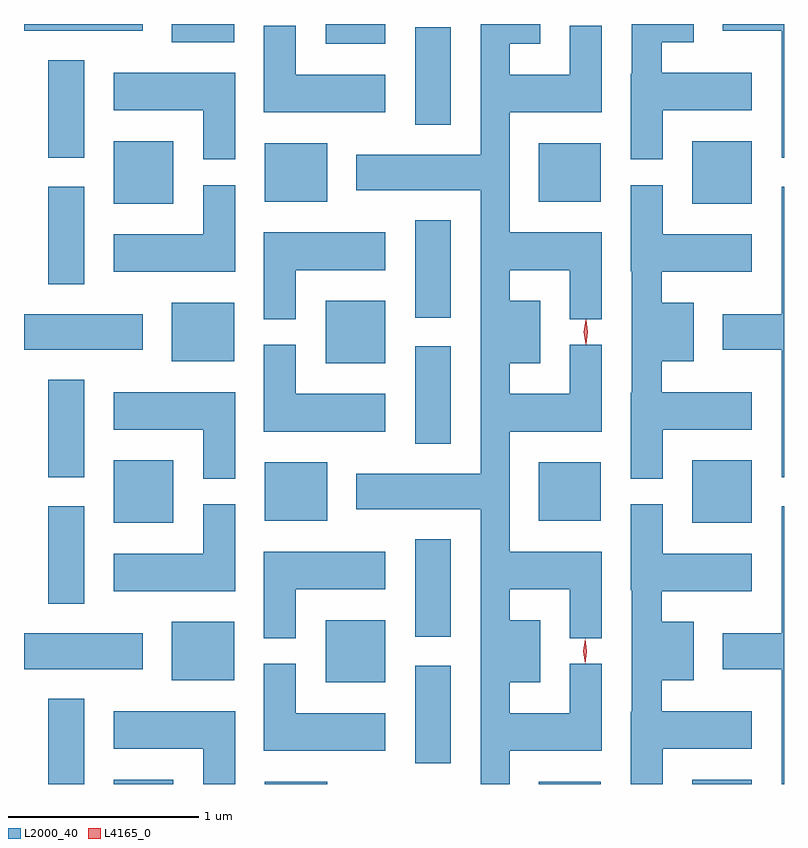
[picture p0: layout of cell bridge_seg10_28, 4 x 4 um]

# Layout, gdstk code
import gdstk
lib = gdstk.Library(unit=1e-6, precision=1e-09)
def R(c, l, rs):  # rectangles x0, y0, x1, y1
    for r in rs: c.add(gdstk.rectangle(r[:2], r[2:], *l))
def P(c, l, *ps):  # polygons
    for p in ps: c.add(gdstk.Polygon(p, *l))
L2000_40 = (2000, 40)
L4165_0 = (4165, 0)

bridge_seg10_28 = lib.new_cell('bridge_seg10_28')
R(bridge_seg10_28, L2000_40, [(1747.306,2166.791,1747.494,2167.239), (1747.651,2166.791,1747.964,2166.814), (1748.446,2166.791,1748.774,2166.804), (1749.886,2166.791,1750.214,2166.804), (1750.696,2166.791,1751.009,2166.814), (1749.236,2166.901,1749.424,2167.414), (1748.766,2167.326,1749.079,2167.654), (1747.956,2167.336,1748.284,2167.644), (1747.178,2167.396,1747.804,2167.584), (1749.236,2167.566,1749.424,2168.079), (1747.306,2167.741,1747.494,2168.254), (1747.651,2168.166,1747.964,2168.494), (1750.696,2168.166,1751.009,2168.494), (1748.446,2168.176,1748.774,2168.484), (1749.886,2168.176,1750.214,2168.484), (1747.306,2168.406,1747.494,2168.919), (1749.236,2168.581,1749.424,2169.094), (1748.766,2169.006,1749.079,2169.334), (1747.956,2169.016,1748.284,2169.324), (1747.178,2169.076,1747.804,2169.264), (1749.236,2169.246,1749.424,2169.759), (1747.306,2169.421,1747.494,2169.934), (1747.651,2169.846,1747.964,2170.174), (1750.696,2169.846,1751.009,2170.174), (1748.446,2169.856,1748.774,2170.164), (1749.886,2169.856,1750.214,2170.164), (1747.306,2170.086,1747.494,2170.599), (1749.236,2170.261,1749.424,2170.774), (1748.766,2170.686,1749.079,2170.791), (1747.956,2170.696,1748.284,2170.791), (1747.178,2170.756,1747.804,2170.791)])
P(bridge_seg10_28, L2000_40, [(1749.734,2166.791),(1749.734,2166.966),(1750.219,2166.966),(1750.219,2167.423),(1750.051,2167.423),(1750.051,2167.164),(1749.734,2167.164),(1749.734,2167.326),(1749.894,2167.326),(1749.894,2167.654),(1749.734,2167.654),(1749.734,2167.816),(1750.051,2167.816),(1750.051,2167.558),(1750.219,2167.558),(1750.219,2168.014),(1749.734,2168.014),(1749.734,2168.646),(1750.219,2168.646),(1750.219,2169.103),(1750.051,2169.103),(1750.051,2168.844),(1749.734,2168.844),(1749.734,2169.006),(1749.894,2169.006),(1749.894,2169.334),(1749.734,2169.334),(1749.734,2169.496),(1750.051,2169.496),(1750.051,2169.238),(1750.219,2169.238),(1750.219,2169.694),(1749.734,2169.694),(1749.734,2170.326),(1750.219,2170.326),(1750.219,2170.783),(1750.051,2170.783),(1750.051,2170.524),(1749.734,2170.524),(1749.734,2170.686),(1749.894,2170.686),(1749.894,2170.791),(1749.581,2170.791),(1749.581,2170.104),(1748.926,2170.104),(1748.926,2169.916),(1749.581,2169.916),(1749.581,2168.424),(1748.926,2168.424),(1748.926,2168.236),(1749.581,2168.236),(1749.581,2166.791)],
  [(1751.178,2170.791),(1750.856,2170.791),(1750.856,2170.756),(1751.166,2170.756),(1751.166,2170.086),(1751.178,2170.086)],
  [(1750.539,2170.336),(1751.009,2170.336),(1751.009,2170.534),(1750.534,2170.534),(1750.534,2170.696),(1750.704,2170.696),(1750.704,2170.791),(1750.376,2170.791),(1750.376,2170.53),(1750.371,2170.53),(1750.371,2170.078),(1750.539,2170.078)],
  [(1749.079,2170.524),(1748.609,2170.524),(1748.609,2170.783),(1748.441,2170.783),(1748.441,2170.326),(1749.079,2170.326)],
  [(1748.289,2170.534),(1747.651,2170.534),(1747.651,2170.336),(1748.121,2170.336),(1748.121,2170.078),(1748.289,2170.078)],
  [(1750.539,2168.656),(1751.009,2168.656),(1751.009,2168.854),(1750.534,2168.854),(1750.534,2169.016),(1750.704,2169.016),(1750.704,2169.324),(1750.534,2169.324),(1750.534,2169.486),(1751.009,2169.486),(1751.009,2169.684),(1750.539,2169.684),(1750.539,2169.943),(1750.371,2169.943),(1750.371,2169.49),(1750.376,2169.49),(1750.376,2168.85),(1750.371,2168.85),(1750.371,2168.398),(1750.539,2168.398)],
  [(1748.289,2169.943),(1748.121,2169.943),(1748.121,2169.684),(1747.651,2169.684),(1747.651,2169.486),(1748.289,2169.486)],
  [(1751.178,2169.934),(1751.166,2169.934),(1751.166,2169.264),(1750.856,2169.264),(1750.856,2169.076),(1751.166,2169.076),(1751.166,2168.406),(1751.178,2168.406)],
  [(1748.609,2169.496),(1749.079,2169.496),(1749.079,2169.694),(1748.441,2169.694),(1748.441,2169.238),(1748.609,2169.238)],
  [(1749.079,2168.844),(1748.609,2168.844),(1748.609,2169.103),(1748.441,2169.103),(1748.441,2168.646),(1749.079,2168.646)],
  [(1748.289,2168.854),(1747.651,2168.854),(1747.651,2168.656),(1748.121,2168.656),(1748.121,2168.398),(1748.289,2168.398)],
  [(1750.539,2166.976),(1751.009,2166.976),(1751.009,2167.174),(1750.534,2167.174),(1750.534,2167.336),(1750.704,2167.336),(1750.704,2167.644),(1750.534,2167.644),(1750.534,2167.806),(1751.009,2167.806),(1751.009,2168.004),(1750.539,2168.004),(1750.539,2168.263),(1750.371,2168.263),(1750.371,2167.81),(1750.376,2167.81),(1750.376,2167.17),(1750.371,2167.17),(1750.371,2166.791),(1750.539,2166.791)],
  [(1748.289,2168.263),(1748.121,2168.263),(1748.121,2168.004),(1747.651,2168.004),(1747.651,2167.806),(1748.289,2167.806)],
  [(1751.178,2168.254),(1751.166,2168.254),(1751.166,2167.584),(1750.856,2167.584),(1750.856,2167.396),(1751.166,2167.396),(1751.166,2166.791),(1751.178,2166.791)],
  [(1748.609,2167.816),(1749.079,2167.816),(1749.079,2168.014),(1748.441,2168.014),(1748.441,2167.558),(1748.609,2167.558)],
  [(1749.079,2167.164),(1748.609,2167.164),(1748.609,2167.423),(1748.441,2167.423),(1748.441,2166.966),(1749.079,2166.966)],
  [(1748.289,2167.174),(1747.651,2167.174),(1747.651,2166.976),(1748.121,2166.976),(1748.121,2166.791),(1748.289,2166.791)])
P(bridge_seg10_28, L4165_0, [(1750.131,2167.424),(1750.131,2167.425),(1750.121,2167.49),(1750.131,2167.555),(1750.131,2167.556),(1750.132,2167.555),(1750.141,2167.49),(1750.132,2167.425)],
  [(1750.135,2169.104),(1750.134,2169.105),(1750.125,2169.17),(1750.134,2169.235),(1750.135,2169.236),(1750.136,2169.235),(1750.145,2169.17),(1750.136,2169.105)])

lib.write_gds('bridge_seg10_28.gds')
